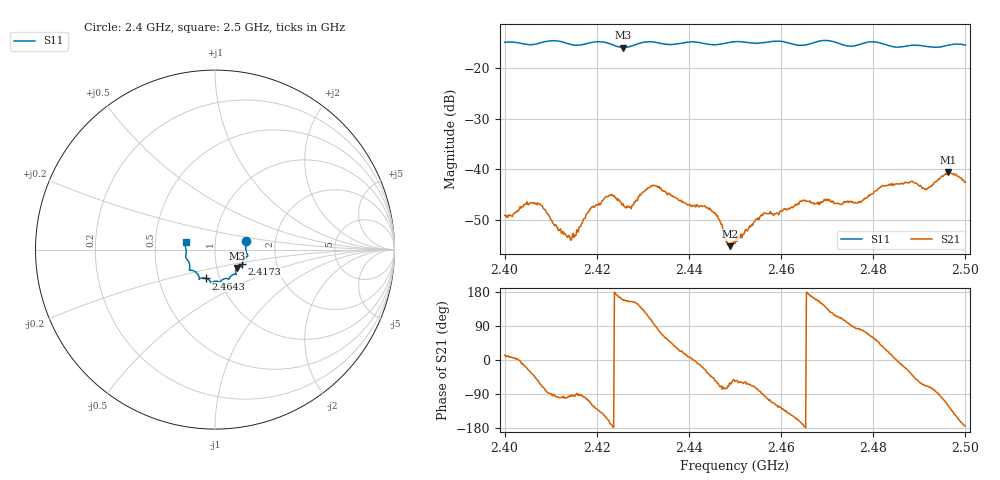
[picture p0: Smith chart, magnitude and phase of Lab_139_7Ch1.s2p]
# Hz S RI R 50
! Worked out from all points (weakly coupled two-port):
!   601 points, 2.4 GHz to 2.5 GHz, reference 50 ohm
!   highest |S21| = -40.60 dB at 2.4963 GHz (marker M1); lowest = -55.2 dB at 2.449 GHz (marker M2)
!   lowest |S11| = -15.9 dB at 2.4257 GHz (marker M3), VSWR 1.38, Z = 62.4 - j13.1 ohm
!   |S11| at or under -10 dB: start of sweep to end of sweep
!   S12 and S22 are empty: the file has one direction only
!   S11 on the Smith chart (normalised r, x): 2.4 GHz: 1.41, +0.14; 2.4173 GHz: 1.34, -0.23; 2.4643 GHz: 0.86, -0.28; 2.5 GHz: 0.72, +0.06
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2.4e9  0.1734 0.0486  0.00344 0.000786  0 0  0 0
2.406333e9  0.1717 -0.00237  0.00345 -0.00302  0 0  0 0
2.414e9  0.1663 -0.0472  -0.000278 -0.00221  0 0  0 0
2.416667e9  0.1528 -0.0748  -6.86e-05 -0.00289  0 0  0 0
2.417333e9  0.152 -0.0823  -0.00048 -0.00325  0 0  0 0
2.422667e9  0.1476 -0.0947  -0.00529 -0.0017  0 0  0 0
2.425667e9  0.1225 -0.1024  -0.00431 0.00161  0 0  0 0
2.4275e9  0.1149 -0.1189  -0.00368 0.00178  0 0  0 0
2.431e9  0.1189 -0.1385  -0.00311 0.00576  0 0  0 0
2.433333e9  0.1129 -0.1371  0.00127 0.00655  0 0  0 0
2.445e9  0.0555 -0.1616  0.00269 -0.00272  0 0  0 0
2.449e9  0.0315 -0.1776  0.0008 -0.00155  0 0  0 0
2.45e9  0.0289 -0.1807  0.00102 -0.00154  0 0  0 0
2.456167e9  -0.00778 -0.1782  -0.000102 -0.0037  0 0  0 0
2.464333e9  -0.05 -0.1604  -0.00467 -0.0012  0 0  0 0
2.466667e9  -0.0761 -0.1589  -0.00457 0.00102  0 0  0 0
2.476833e9  -0.1246 -0.1165  0.000658 0.00474  0 0  0 0
2.483333e9  -0.1406 -0.09  0.00662 0.00255  0 0  0 0
2.4885e9  -0.1617 -0.0474  0.0058 -0.00498  0 0  0 0
2.4915e9  -0.1613 -0.0304  0.0023 -0.00588  0 0  0 0
2.496333e9  -0.1676 0.0219  -0.00503 -0.00786  0 0  0 0
2.5e9  -0.1639 0.0419  -0.00744 -0.00077  0 0  0 0
